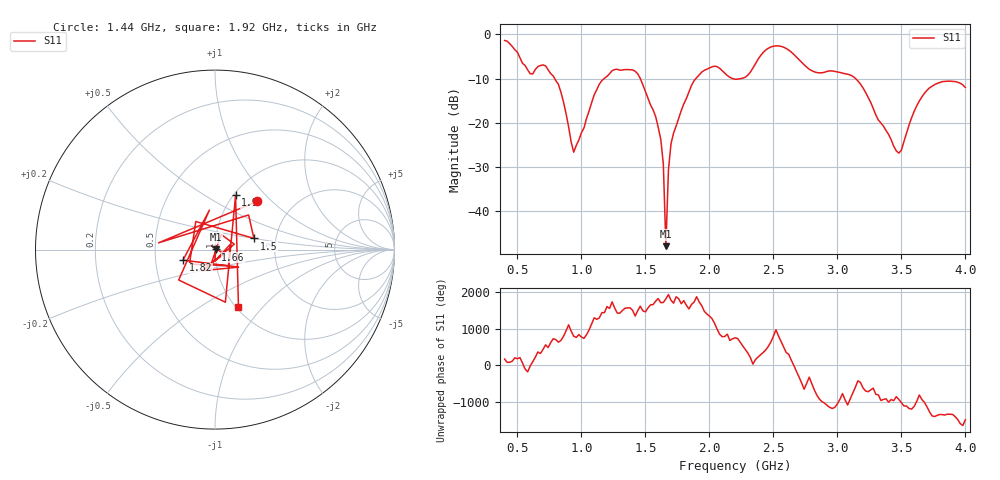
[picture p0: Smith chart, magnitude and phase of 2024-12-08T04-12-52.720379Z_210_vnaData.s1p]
!Created with skrf (http://scikit-rf.org).
# Hz S RI R 50.0
!freq ReS11 ImS11
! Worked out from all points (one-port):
!   181 points, 400 MHz to 4 GHz, reference 50 ohm
!   lowest |S11| = -48.0 dB at 1.66 GHz (marker M1), VSWR 1.01, Z = 50.4 + j0.0802 ohm
!   |S11| at or under -10 dB: 790.9 MHz to 1.178 GHz (386.7 MHz wide, 39.3 % of centre); 1.46 GHz to 1.895 GHz (434.3 MHz wide, 25.9 % of centre); 3.142 GHz to end of sweep (the widest 3 of 4)
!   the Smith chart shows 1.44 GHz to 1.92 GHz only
!   S11 on the Smith chart (normalised r, x): 1.44 GHz: 1.33, +0.82; 1.5 GHz: 1.54, +0.20; 1.66 GHz: 1.01, +0.00; 1.82 GHz: 0.69, -0.08; 1.9 GHz: 1.02, +0.69; 1.92 GHz: 1.02, -0.75
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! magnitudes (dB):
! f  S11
! 400 MHz  -1.4
! 600 MHz  -8.9
! 720 MHz  -7.1
! 860 MHz  -15.3
! 940 MHz  -26.7
! 1.14 GHz  -11.3
! 1.3 GHz  -8.1
! 1.44 GHz  -8.9
! 1.5 GHz  -12.9
! 1.62 GHz  -23.7
! 1.64 GHz  -29.3
! 1.66 GHz  -48.0
! 1.68 GHz  -30.8
! 1.7 GHz  -24.8
! 1.76 GHz  -19.0
! 1.82 GHz  -14.5
! 1.9 GHz  -9.8
! 1.92 GHz  -9.2
! 2.04 GHz  -7.2
! 2.2 GHz  -10.2
! 2.48 GHz  -2.9
! 2.66 GHz  -4.6
! 2.82 GHz  -8.5
! 3.1 GHz  -9.2
! 3.48 GHz  -26.9
! 3.56 GHz  -20.5
! 3.72 GHz  -12.1
! 4 GHz  -12.0
